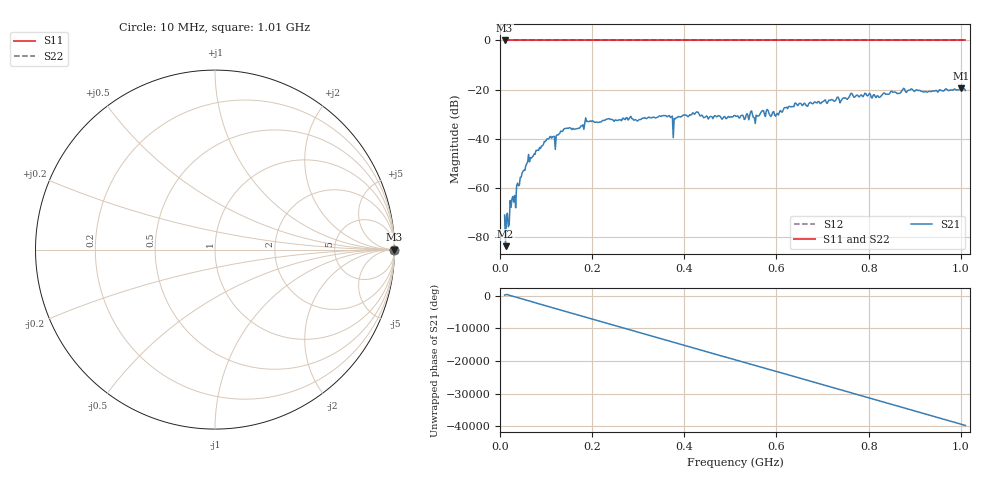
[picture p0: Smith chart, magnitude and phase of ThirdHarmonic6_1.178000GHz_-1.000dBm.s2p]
! 8/16/2025 12:00:26 PM
! C:\ANRITSUVNA\TEMP\TEMP.S2P
! CHANNEL.1
! TR.MEASUREMENT
! RAW.DATA
! RF.CORRECTION.OFF
! AVERAGING.OFF
! IF.BANDWIDTH: 5KHZ
! SWEEPTYPE:  FREQ.SWEEP(Linear)
! Reference Plane Port Info
! PORT:  PORT1  PORT2
! DISTANCE:  0  m  0  m
! TIME:  0  s  0  s
! PHASE.OFFSET:  0  deg.  0  deg.
! LOSS:  0  dB  0  dB
! REF.LOSS:  0  dB  0  dB
! REF.FREQ:  0  Hz  0  Hz
! Power Info
! POWER:  -20  dBm  -20  dBm
! EFF.POWER:  -20  dBm  -20  dBm
! SOURCE.ATTEN:  0  dB  0  dB
! TEST.ATTEN:  0  dB  0  dB
# GHZ S RI R 50.0
! FREQ.GHZ  S11RE  S11IM  S21RE  S21IM  S12RE  S12IM  S22RE  S22IM
!; PortSelection: Port_12
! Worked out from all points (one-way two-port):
!   501 points, 10 MHz to 1.01 GHz, reference 50 ohm
!   highest |S21| = -19.42 dB at 1 GHz (marker M1); lowest = -83.5 dB at 12 MHz (marker M2)
!   lowest |S11| = 0.0 dB at 10 MHz (marker M3)
!   |S11| at or under -10 dB: nowhere
!   |S22| runs from 0.0 to 0.0 dB; largest |S21 - S12| = 1.1
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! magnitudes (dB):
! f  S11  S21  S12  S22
! 10 MHz  0.0  -70.9  0.0  0.0
! 12 MHz  0.0  -83.5  0.0  0.0
! 16 MHz  0.0  -70.2  0.0  0.0
! 26 MHz  0.0  -64.2  0.0  0.0
! 64 MHz  0.0  -49.3  0.0  0.0
! 106 MHz  0.0  -39.9  0.0  0.0
! 124 MHz  0.0  -38.3  0.0  0.0
! 142 MHz  0.0  -35.7  0.0  0.0
! 178 MHz  0.0  -34.7  0.0  0.0
! 190 MHz  0.0  -32.9  0.0  0.0
! 344 MHz  0.0  -30.9  0.0  0.0
! 370 MHz  0.0  -31.3  0.0  0.0
! 380 MHz  0.0  -31.9  0.0  0.0
! 386 MHz  0.0  -31.0  0.0  0.0
! 426 MHz  0.0  -29.1  0.0  0.0
! 510 MHz  0.0  -30.5  0.0  0.0
! 600 MHz  0.0  -30.1  0.0  0.0
! 644 MHz  0.0  -25.9  0.0  0.0
! 678 MHz  0.0  -25.7  0.0  0.0
! 844 MHz  0.0  -21.9  0.0  0.0
! 1 GHz  0.0  -19.4  0.0  0.0
! 1.01 GHz  0.0  -20.3  0.0  0.0
